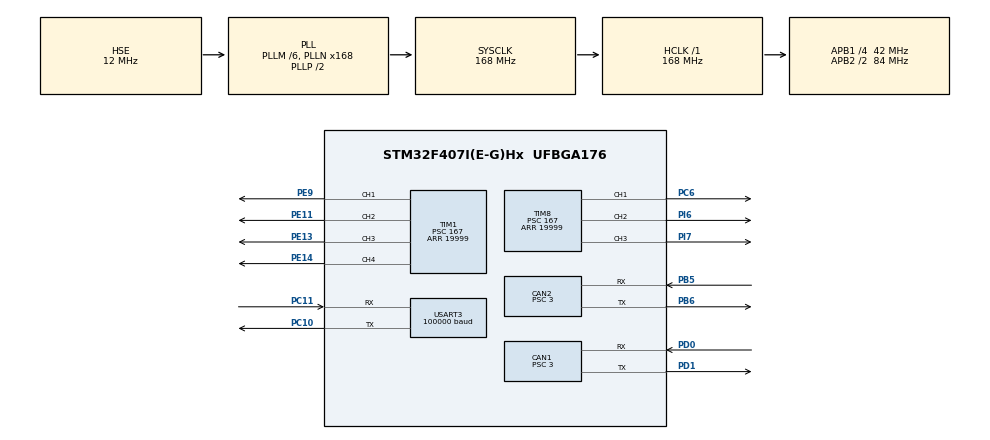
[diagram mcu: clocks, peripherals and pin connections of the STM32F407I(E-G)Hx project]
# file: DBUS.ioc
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CAN1.BS1=CAN_BS1_10TQ
CAN1.BS2=CAN_BS2_3TQ
CAN1.CalculateTimeQuantum=71.42857142857143
CAN1.Prescaler=3
CAN2.BS1=CAN_BS1_10TQ
CAN2.BS2=CAN_BS2_3TQ
CAN2.CalculateTimeQuantum=71.42857142857143
CAN2.Prescaler=3
Dma.Request0=USART3_RX
Dma.USART3_RX.0.Direction=DMA_PERIPH_TO_MEMORY
Dma.USART3_RX.0.FIFOMode=DMA_FIFOMODE_DISABLE
Dma.USART3_RX.0.Instance=DMA1_Stream1
Dma.USART3_RX.0.MemDataAlignment=DMA_MDATAALIGN_BYTE
Dma.USART3_RX.0.MemInc=DMA_MINC_ENABLE
Dma.USART3_RX.0.Mode=DMA_CIRCULAR
Dma.USART3_RX.0.PeriphDataAlignment=DMA_PDATAALIGN_BYTE
Dma.USART3_RX.0.PeriphInc=DMA_PINC_DISABLE
Dma.USART3_RX.0.Priority=DMA_PRIORITY_VERY_HIGH
Mcu.Family=STM32F4
Mcu.Name=STM32F407I(E-G)Hx
Mcu.Package=UFBGA176
NVIC.CAN1_RX0_IRQn=true\:0\:0\:false\:false\:true\:true\:true
NVIC.CAN2_RX0_IRQn=true\:0\:0\:false\:false\:true\:true\:true
NVIC.DMA1_Stream1_IRQn=true\:0\:0\:false\:false\:true\:false\:true
NVIC.PriorityGroup=NVIC_PRIORITYGROUP_4
PA13.Mode=Serial_Wire
PA13.Signal=SYS_JTMS-SWDIO
PA14.Mode=Serial_Wire
PA14.Signal=SYS_JTCK-SWCLK
PB5.Mode=Slave
PB5.Signal=CAN2_RX
PB6.Mode=Slave
PB6.Signal=CAN2_TX
PC10.Mode=Asynchronous
PC10.Signal=USART3_TX
PC11.Mode=Asynchronous
PC11.Signal=USART3_RX
PC6.GPIO_PuPd=GPIO_PULLUP
PC6.GPIO_Speed=GPIO_SPEED_FREQ_HIGH
PC6.Signal=S_TIM8_CH1
PD0.Mode=Master
PD0.Signal=CAN1_RX
PD1.Mode=Master
PD1.Signal=CAN1_TX
PE11.GPIO_PuPd=GPIO_PULLUP
PE11.GPIO_Speed=GPIO_SPEED_FREQ_HIGH
PE11.Signal=S_TIM1_CH2
PE13.GPIO_PuPd=GPIO_PULLUP
PE13.GPIO_Speed=GPIO_SPEED_FREQ_HIGH
PE13.Signal=S_TIM1_CH3
PE14.GPIO_PuPd=GPIO_PULLUP
PE14.GPIO_Speed=GPIO_SPEED_FREQ_HIGH
PE14.Signal=S_TIM1_CH4
PE9.GPIO_PuPd=GPIO_PULLUP
PE9.GPIO_Speed=GPIO_SPEED_FREQ_HIGH
PE9.Signal=S_TIM1_CH1
PH0-OSC_IN.Mode=HSE-External-Oscillator
PH0-OSC_IN.Signal=RCC_OSC_IN
PH1-OSC_OUT.Mode=HSE-External-Oscillator
PH1-OSC_OUT.Signal=RCC_OSC_OUT
PI6.GPIO_PuPd=GPIO_PULLUP
PI6.GPIO_Speed=GPIO_SPEED_FREQ_HIGH
PI6.Signal=S_TIM8_CH2
PI7.GPIO_PuPd=GPIO_PULLUP
PI7.GPIO_Speed=GPIO_SPEED_FREQ_HIGH
PI7.Signal=S_TIM8_CH3
ProjectManager.HeapSize=0x2000
ProjectManager.StackSize=0x2000
ProjectManager.TargetToolchain=MDK-ARM V5
RCC.48MHZClocksFreq_Value=48000000
RCC.AHBFreq_Value=168000000
RCC.APB1CLKDivider=RCC_HCLK_DIV4
RCC.APB1Freq_Value=42000000
RCC.APB1TimFreq_Value=84000000
RCC.APB2CLKDivider=RCC_HCLK_DIV2
RCC.APB2Freq_Value=84000000
RCC.APB2TimFreq_Value=168000000
RCC.CortexFreq_Value=168000000
RCC.HCLKFreq_Value=168000000
RCC.HSE_VALUE=12000000
RCC.HSI_VALUE=16000000
RCC.LSE_VALUE=32768
RCC.PLLM=6
RCC.PLLN=168
RCC.PLLQ=7
RCC.PLLSourceVirtual=RCC_PLLSOURCE_HSE
RCC.RCC_RTC_Clock_SourceVirtual=RCC_RTCCLKSOURCE_HSE_DIV30
RCC.RCC_RTC_Clock_Source_FROM_HSE=RCC_RTCCLKSOURCE_HSE_DIV30
RCC.SYSCLKFreq_VALUE=168000000
RCC.SYSCLKSource=RCC_SYSCLKSOURCE_PLLCLK
RCC.VCOOutputFreq_Value=336000000
SH.S_TIM1_CH1.0=TIM1_CH1,PWM Generation1 CH1
SH.S_TIM1_CH2.0=TIM1_CH2,PWM Generation2 CH2
SH.S_TIM1_CH3.0=TIM1_CH3,PWM Generation3 CH3
SH.S_TIM1_CH4.0=TIM1_CH4,PWM Generation4 CH4
SH.S_TIM8_CH1.0=TIM8_CH1,PWM Generation1 CH1
SH.S_TIM8_CH2.0=TIM8_CH2,PWM Generation2 CH2
SH.S_TIM8_CH3.0=TIM8_CH3,PWM Generation3 CH3
TIM1.Channel-PWM\ Generation1\ CH1=TIM_CHANNEL_1
TIM1.Channel-PWM\ Generation2\ CH2=TIM_CHANNEL_2
TIM1.Channel-PWM\ Generation3\ CH3=TIM_CHANNEL_3
TIM1.Channel-PWM\ Generation4\ CH4=TIM_CHANNEL_4
TIM1.Period=19999
TIM1.Prescaler=167
TIM1.Pulse-PWM\ Generation1\ CH1=2000
TIM1.Pulse-PWM\ Generation2\ CH2=2000
TIM1.Pulse-PWM\ Generation3\ CH3=2000
TIM1.Pulse-PWM\ Generation4\ CH4=2000
TIM8.Channel-PWM\ Generation1\ CH1=TIM_CHANNEL_1
TIM8.Channel-PWM\ Generation2\ CH2=TIM_CHANNEL_2
TIM8.Channel-PWM\ Generation3\ CH3=TIM_CHANNEL_3
TIM8.Period=19999
TIM8.Prescaler=167
TIM8.Pulse-PWM\ Generation1\ CH1=2000
TIM8.Pulse-PWM\ Generation2\ CH2=2000
TIM8.Pulse-PWM\ Generation3\ CH3=2000
USART3.BaudRate=100000
USART3.Parity=PARITY_EVEN
USART3.VirtualMode=VM_ASYNC
USART3.WordLength=WORDLENGTH_9B
VP_TIM1_VS_ClockSourceINT.Mode=Internal
VP_TIM8_VS_ClockSourceINT.Mode=Internal
board=custom

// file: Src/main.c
/* USER CODE BEGIN Header */
/**
  ******************************************************************************
  * @file           : main.c
  * @brief          : Main program body
  ******************************************************************************
  * @attention
  *
  * <h2><center>&copy; Copyright (c) 2020 STMicroelectronics.
  * All rights reserved.</center></h2>
  *
  * This software component is licensed by ST under BSD 3-Clause license,
  * the "License"; You may not use this file except in compliance with the
  * License. You may obtain a copy of the License at:
  *                        opensource.org/licenses/BSD-3-Clause
  *
  ******************************************************************************
  */
/* USER CODE END Header */

#include "main.h"
#include "can.h"
#include "dma.h"
#include "tim.h"
#include "usart.h"
#include "gpio.h"

/* USER CODE BEGIN Includes */
#include "bsp_can.h"
#include "CAN_receive.h"
/* USER CODE END Includes */

/* USER CODE BEGIN PV */
RC_Ctl_t RC_Ctl;   							//声明遥控器数据结构体
uint8_t sbus_rx_buffer[18]; 		//声明遥控器缓存数组

int set_current = 0;
/* USER CODE END PV */

void SystemClock_Config(void);

int main(void)
{

  /* MCU Configuration--------------------------------------------------------*/

  /* Reset of all peripherals, Initializes the Flash interface and the Systick. */
  HAL_Init();

  /* Configure the system clock */
  SystemClock_Config();

  /* Initialize all configured peripherals */
  MX_GPIO_Init();
  MX_DMA_Init();
  MX_TIM8_Init();
  MX_TIM1_Init();
  MX_USART3_UART_Init();
  MX_CAN1_Init();
  MX_CAN2_Init();
  /* USER CODE BEGIN 2 */
    can_filter_init();
		HAL_UART_Receive_DMA(&huart3,sbus_rx_buffer,18);
  /* USER CODE END 2 */

  /* Infinite loop */
  /* USER CODE BEGIN WHILE */
  while (1)
  {
		set_current = (RC_Ctl.rc.ch0-1024)*2;
		CAN_cmd_chassis(set_current,set_current,set_current,set_current);
		HAL_Delay(10);
    /* USER CODE END WHILE */

  }
}

void SystemClock_Config(void)
{
  RCC_OscInitTypeDef RCC_OscInitStruct = {0};
  RCC_ClkInitTypeDef RCC_ClkInitStruct = {0};

  /** Configure the main internal regulator output voltage
  */
  __HAL_RCC_PWR_CLK_ENABLE();
  __HAL_PWR_VOLTAGESCALING_CONFIG(PWR_REGULATOR_VOLTAGE_SCALE1);
  /** Initializes the CPU, AHB and APB busses clocks
  */
  RCC_OscInitStruct.OscillatorType = RCC_OSCILLATORTYPE_HSE;
  RCC_OscInitStruct.HSEState = RCC_HSE_ON;
  RCC_OscInitStruct.PLL.PLLState = RCC_PLL_ON;
  RCC_OscInitStruct.PLL.PLLSource = RCC_PLLSOURCE_HSE;
  RCC_OscInitStruct.PLL.PLLM = 6;
  RCC_OscInitStruct.PLL.PLLN = 168;
  RCC_OscInitStruct.PLL.PLLP = RCC_PLLP_DIV2;
  RCC_OscInitStruct.PLL.PLLQ = 4;
  if (HAL_RCC_OscConfig(&RCC_OscInitStruct) != HAL_OK)
  {
    Error_Handler();
  }
  /** Initializes the CPU, AHB and APB busses clocks
  */
  RCC_ClkInitStruct.ClockType = RCC_CLOCKTYPE_HCLK|RCC_CLOCKTYPE_SYSCLK
                              |RCC_CLOCKTYPE_PCLK1|RCC_CLOCKTYPE_PCLK2;
  RCC_ClkInitStruct.SYSCLKSource = RCC_SYSCLKSOURCE_PLLCLK;
  RCC_ClkInitStruct.AHBCLKDivider = RCC_SYSCLK_DIV1;
  RCC_ClkInitStruct.APB1CLKDivider = RCC_HCLK_DIV4;
  RCC_ClkInitStruct.APB2CLKDivider = RCC_HCLK_DIV2;

  if (HAL_RCC_ClockConfig(&RCC_ClkInitStruct, FLASH_LATENCY_5) != HAL_OK)
  {
    Error_Handler();
  }
}

/* USER CODE BEGIN 4 */
void HAL_UART_RxCpltCallback(UART_HandleTypeDef *UartHandle)
{
				RC_Ctl.rc.ch0 = (sbus_rx_buffer[0]| (sbus_rx_buffer[1] << 8)) & 0x07ff;
				RC_Ctl.rc.ch1 = ((sbus_rx_buffer[1] >> 3) | (sbus_rx_buffer[2] << 5)) & 0x07ff;
				RC_Ctl.rc.ch2 = ((sbus_rx_buffer[2] >> 6) | (sbus_rx_buffer[3] << 2) | (sbus_rx_buffer[4] << 10)) & 0x07ff;
				RC_Ctl.rc.ch3 = ((sbus_rx_buffer[4] >> 1) | (sbus_rx_buffer[5] << 7)) & 0x07ff;
				RC_Ctl.rc.s1  = ((sbus_rx_buffer[5] >> 4)& 0x000C) >> 2;
				RC_Ctl.rc.s2  = ((sbus_rx_buffer[5] >> 4)& 0x0003);

				RC_Ctl.mouse.x = sbus_rx_buffer[6] | (sbus_rx_buffer[7] << 8);                    //!< Mouse X axis
				RC_Ctl.mouse.y = sbus_rx_buffer[8] | (sbus_rx_buffer[9] << 8);                    //!< Mouse Y axis
				RC_Ctl.mouse.z = sbus_rx_buffer[10] | (sbus_rx_buffer[11] << 8);                  //!< Mouse Z axis
				RC_Ctl.mouse.press_l = sbus_rx_buffer[12];                                        //!< Mouse Left Is Press
				RC_Ctl.mouse.press_r = sbus_rx_buffer[13];                                        //!< Mouse Right Is Press
				RC_Ctl.key.v = sbus_rx_buffer[14] | (sbus_rx_buffer[15] << 8);   			//!< KeyBoard value
}
/* USER CODE END 4 */

void Error_Handler(void)
{
}

/************************ (C) COPYRIGHT STMicroelectronics *****END OF FILE****/
